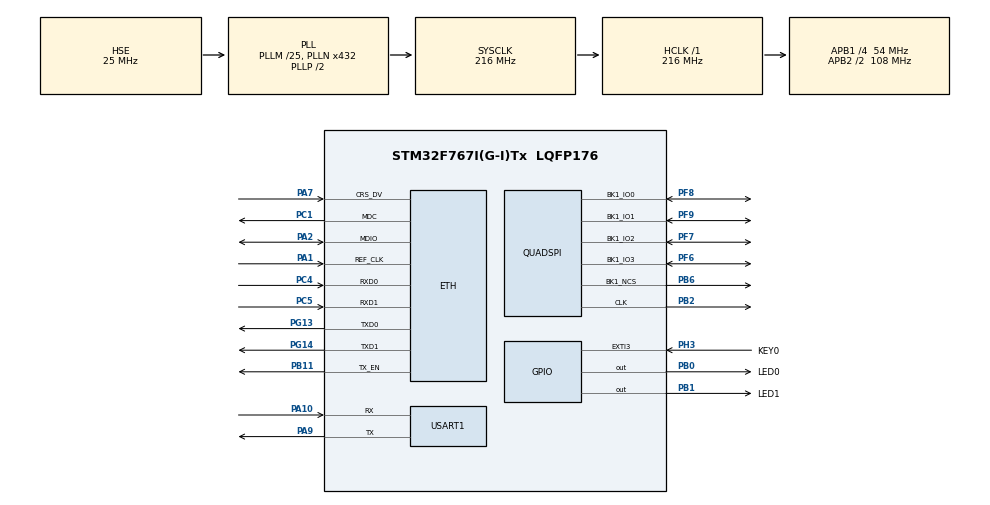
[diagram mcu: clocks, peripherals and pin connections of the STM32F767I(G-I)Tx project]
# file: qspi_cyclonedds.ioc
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CORTEX_M7.BaseAddress-Cortex_Memory_Protection_Unit_Region0_Settings=0xC0000000
CORTEX_M7.CPU_DCache=Enabled
CORTEX_M7.CPU_ICache=Enabled
CORTEX_M7.Enable-Cortex_Memory_Protection_Unit_Region0_Settings=MPU_REGION_ENABLE
CORTEX_M7.IsBufferable-Cortex_Memory_Protection_Unit_Region0_Settings=MPU_ACCESS_BUFFERABLE
CORTEX_M7.IsCacheable-Cortex_Memory_Protection_Unit_Region0_Settings=MPU_ACCESS_CACHEABLE
CORTEX_M7.MPU_Control=MPU_PRIVILEGED_DEFAULT
CORTEX_M7.Size-Cortex_Memory_Protection_Unit_Region0_Settings=MPU_REGION_SIZE_32MB
Dma.Request0=USART1_TX
Dma.Request1=USART1_RX
Dma.USART1_RX.1.Direction=DMA_PERIPH_TO_MEMORY
Dma.USART1_RX.1.FIFOMode=DMA_FIFOMODE_DISABLE
Dma.USART1_RX.1.Instance=DMA2_Stream2
Dma.USART1_RX.1.MemDataAlignment=DMA_MDATAALIGN_BYTE
Dma.USART1_RX.1.MemInc=DMA_MINC_ENABLE
Dma.USART1_RX.1.Mode=DMA_NORMAL
Dma.USART1_RX.1.PeriphDataAlignment=DMA_PDATAALIGN_BYTE
Dma.USART1_RX.1.PeriphInc=DMA_PINC_DISABLE
Dma.USART1_RX.1.Priority=DMA_PRIORITY_LOW
Dma.USART1_TX.0.Direction=DMA_MEMORY_TO_PERIPH
Dma.USART1_TX.0.FIFOMode=DMA_FIFOMODE_DISABLE
Dma.USART1_TX.0.Instance=DMA2_Stream7
Dma.USART1_TX.0.MemDataAlignment=DMA_MDATAALIGN_BYTE
Dma.USART1_TX.0.MemInc=DMA_MINC_ENABLE
Dma.USART1_TX.0.Mode=DMA_NORMAL
Dma.USART1_TX.0.PeriphDataAlignment=DMA_PDATAALIGN_BYTE
Dma.USART1_TX.0.PeriphInc=DMA_PINC_DISABLE
Dma.USART1_TX.0.Priority=DMA_PRIORITY_LOW
ETH.MediaInterface=HAL_ETH_RMII_MODE
FREERTOS.Tasks01=defaultTask,24,1024,StartDefaultTask,Default,NULL,Dynamic,NULL,NULL
FREERTOS.configMINIMAL_STACK_SIZE=1024
FREERTOS.configTOTAL_HEAP_SIZE=204800
FREERTOS.configUSE_NEWLIB_REENTRANT=1
LWIP.BSP.number=1
LWIP.DEFAULT_THREAD_STACKSIZE=2048
LWIP.GATEWAY_ADDRESS=192.168.001.001
LWIP.IP_ADDRESS=192.168.001.010
LWIP.LWIP_ARP=1
LWIP.LWIP_DHCP=0
LWIP.NETMASK_ADDRESS=255.255.255.000
LWIP.SLIPIF_THREAD_STACKSIZE=2048
LWIP.TCPIP_THREAD_NAME="tcpip_thread1"
LWIP.TCPIP_THREAD_STACKSIZE=2048
LWIP.Version=v2.1.2_Cube
LWIP0.BSP.STBoard=false
LWIP0.BSP.api=BSP_COMPONENT_DRIVER
LWIP0.BSP.component=LAN8742
LWIP0.BSP.instance=LAN8742
LWIP0.BSP.name=Driver_PHY
LWIP0.BSP.semaphore=S_LAN8742
LWIP0.BSP.solution=LAN8742
Mcu.Family=STM32F7
Mcu.Name=STM32F767I(G-I)Tx
Mcu.Package=LQFP176
NVIC.DMA2_Stream2_IRQn=true\:5\:0\:false\:false\:true\:true\:false\:true\:true
NVIC.DMA2_Stream7_IRQn=true\:5\:0\:false\:false\:true\:true\:false\:true\:true
NVIC.ETH_IRQn=true\:5\:0\:false\:false\:true\:true\:false\:true\:true
NVIC.EXTI3_IRQn=true\:5\:0\:false\:false\:true\:true\:true\:true\:true
NVIC.PriorityGroup=NVIC_PRIORITYGROUP_4
NVIC.TIM1_UP_TIM10_IRQn=true\:15\:0\:false\:false\:true\:false\:false\:true\:true
NVIC.TimeBase=TIM1_UP_TIM10_IRQn
NVIC.TimeBaseIP=TIM10
NVIC.USART1_IRQn=true\:5\:0\:false\:false\:true\:true\:true\:true\:true
PA1.Mode=RMII
PA1.Signal=ETH_REF_CLK
PA10.Mode=Asynchronous
PA10.Signal=USART1_RX
PA13.Mode=Trace_Synchro_4bits_JTAG
PA13.Signal=SYS_JTMS-SWDIO
PA14.Mode=Trace_Synchro_4bits_JTAG
PA14.Signal=SYS_JTCK-SWCLK
PA15.Mode=Trace_Synchro_4bits_JTAG
PA15.Signal=SYS_JTDI
PA2.Mode=RMII
PA2.Signal=ETH_MDIO
PA7.Mode=RMII
PA7.Signal=ETH_CRS_DV
PA9.Mode=Asynchronous
PA9.Signal=USART1_TX
PB0.GPIO_Label=LED0
PB0.PinState=GPIO_PIN_SET
PB0.Signal=GPIO_Output
PB1.GPIO_Label=LED1
PB1.PinState=GPIO_PIN_SET
PB1.Signal=GPIO_Output
PB11.Mode=RMII
PB11.Signal=ETH_TX_EN
PB2.Mode=Single Bank 1
PB2.Signal=QUADSPI_CLK
PB3.Mode=Trace_Synchro_4bits_JTAG
PB3.Signal=SYS_JTDO-SWO
PB6.Mode=Single Bank 1
PB6.Signal=QUADSPI_BK1_NCS
PC1.Mode=RMII
PC1.Signal=ETH_MDC
PC14/OSC32_IN.Mode=LSE-External-Oscillator
PC14/OSC32_IN.Signal=RCC_OSC32_IN
PC15/OSC32_OUT.Mode=LSE-External-Oscillator
PC15/OSC32_OUT.Signal=RCC_OSC32_OUT
PC4.Mode=RMII
PC4.Signal=ETH_RXD0
PC5.Mode=RMII
PC5.Signal=ETH_RXD1
PE2.Mode=Trace_Synchro_4bits_JTAG
PE2.Signal=SYS_TRACECLK
PE3.Mode=Trace_Synchro_4bits_JTAG
PE3.Signal=SYS_TRACED0
PE4.Mode=Trace_Synchro_4bits_JTAG
PE4.Signal=SYS_TRACED1
PE5.Mode=Trace_Synchro_4bits_JTAG
PE5.Signal=SYS_TRACED2
PE6.Mode=Trace_Synchro_4bits_JTAG
PE6.Signal=SYS_TRACED3
PF6.Mode=Single Bank 1
PF6.Signal=QUADSPI_BK1_IO3
PF7.Mode=Single Bank 1
PF7.Signal=QUADSPI_BK1_IO2
PF8.Mode=Single Bank 1
PF8.Signal=QUADSPI_BK1_IO0
PF9.Mode=Single Bank 1
PF9.Signal=QUADSPI_BK1_IO1
PG13.Mode=RMII
PG13.Signal=ETH_TXD0
PG14.Mode=RMII
PG14.Signal=ETH_TXD1
PH0/OSC_IN.Mode=HSE-External-Oscillator
PH0/OSC_IN.Signal=RCC_OSC_IN
PH1/OSC_OUT.Mode=HSE-External-Oscillator
PH1/OSC_OUT.Signal=RCC_OSC_OUT
PH3.GPIO_Label=KEY0
PH3.GPIO_ModeDefaultEXTI=GPIO_MODE_IT_FALLING
PH3.GPIO_PuPd=GPIO_PULLUP
PH3.Signal=GPXTI3
ProjectManager.HeapSize=0x2000
ProjectManager.StackSize=0x2000
ProjectManager.TargetToolchain=Makefile
QUADSPI.ChipSelectHighTime=QSPI_CS_HIGH_TIME_5_CYCLE
QUADSPI.ClockPrescaler=1
QUADSPI.FifoThreshold=32
QUADSPI.FlashSize=24
QUADSPI.SampleShifting=QSPI_SAMPLE_SHIFTING_HALFCYCLE
RCC.AHBFreq_Value=216000000
RCC.APB1CLKDivider=RCC_HCLK_DIV4
RCC.APB1Freq_Value=54000000
RCC.APB1TimFreq_Value=108000000
RCC.APB2CLKDivider=RCC_HCLK_DIV2
RCC.APB2Freq_Value=108000000
RCC.APB2TimFreq_Value=216000000
RCC.CortexFreq_Value=216000000
RCC.HCLKFreq_Value=216000000
RCC.HSE_VALUE=25000000
RCC.HSI_VALUE=16000000
RCC.PLLM=25
RCC.PLLN=432
RCC.PLLSourceVirtual=RCC_PLLSOURCE_HSE
RCC.SYSCLKFreq_VALUE=216000000
RCC.SYSCLKSource=RCC_SYSCLKSOURCE_PLLCLK
RCC.USART1CLockSelection=RCC_USART1CLKSOURCE_SYSCLK
RCC.USBFreq_Value=216000000
RCC.VCOOutputFreq_Value=432000000
USART1.VirtualMode-Asynchronous=VM_ASYNC
VP_FREERTOS_VS_CMSIS_V2.Mode=CMSIS_V2
VP_LWIP_VS_Enabled.Mode=Enabled
VP_SYS_VS_tim10.Mode=TIM10
board=custom

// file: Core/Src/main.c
/* USER CODE BEGIN Header */
/**
  ******************************************************************************
  * @file           : main.c
  * @brief          : Main program body
  ******************************************************************************
  * @attention
  *
  * Copyright (c) 2024 STMicroelectronics.
  * All rights reserved.
  *
  * This software is licensed under terms that can be found in the LICENSE file
  * in the root directory of this software component.
  * If no LICENSE file comes with this software, it is provided AS-IS.
  *
  ******************************************************************************
  */
/* USER CODE END Header */
#include "main.h"
#include "cmsis_os.h"
#include "dma.h"
#include "lwip.h"
#include "quadspi.h"
#include "usart.h"
#include "gpio.h"
#include "fmc.h"

/* USER CODE BEGIN Includes */
#include "pcf8574.h"
#include "delay.h"
/* USER CODE END Includes */

void SystemClock_Config(void);
static void MPU_Config(void);
void MX_FREERTOS_Init(void);

/* USER CODE BEGIN 0 */
static void after_extraminit_ctr(void){
  extern char _sdata_extram, _edata_extram, _sidata_extram;
	extern char _sbss_extram, _ebss_extram;
	volatile char *src = &_sidata_extram;
	volatile char *dst = &_sdata_extram;

	while (dst < &_edata_extram)
		*dst++ = *src++;

	dst = &_sbss_extram;
	while (dst < &_ebss_extram)
		*dst++ = 0;

	SCB_CleanDCache();
	SCB_InvalidateDCache();
}
/* USER CODE END 0 */

int main(void)
{
  /* USER CODE BEGIN 1 */
  SCB->VTOR = FLASH_BASE;
  /* USER CODE END 1 */
/* Enable the CPU Cache */

  /* Enable I-Cache---------------------------------------------------------*/
  SCB_EnableICache();

  /* Enable D-Cache---------------------------------------------------------*/
  SCB_EnableDCache();

  SCB->CACR|=1<<2;  //开启Dcache透写

  MPU_Config();

  /* MCU Configuration--------------------------------------------------------*/

  /* Reset of all peripherals, Initializes the Flash interface and the Systick. */
  HAL_Init();

  /* Configure the system clock */
  SystemClock_Config();

  MX_GPIO_Init();

  /* USER CODE BEGIN SysInit */
  MX_FMC_Init();    //!!!important, must enable gpio clk
  after_extraminit_ctr();

  delay_init();
  /* USER CODE END SysInit */

  /* Initialize all configured peripherals */

  MX_DMA_Init();
  MX_USART1_UART_Init();
  //MX_QUADSPI_Init();
  // HAL_GPIO_WritePin(GPIOB, LED1_Pin, GPIO_PIN_RESET);

  /* USER CODE BEGIN 2 */
  PCF8574_Init();
	PCF8574_WriteBit(ETH_RESET_IO,1);
	delay_ms(100);
	PCF8574_WriteBit(ETH_RESET_IO,0);
	delay_ms(100);
  /* USER CODE END 2 */

  /* Init scheduler */
  osKernelInitialize();

  /* Call init function for freertos objects (in freertos.c) */
  MX_FREERTOS_Init();

  /* Start scheduler */
  osKernelStart();

  /* We should never get here as control is now taken by the scheduler */
  /* Infinite loop */
  while (1)
  {

  }
}

void SystemClock_Config(void)
{
  RCC_OscInitTypeDef RCC_OscInitStruct = {0};
  RCC_ClkInitTypeDef RCC_ClkInitStruct = {0};

  /** Configure LSE Drive Capability
  */
  HAL_PWR_EnableBkUpAccess();

  /** Configure the main internal regulator output voltage
  */
  __HAL_RCC_PWR_CLK_ENABLE();
  __HAL_PWR_VOLTAGESCALING_CONFIG(PWR_REGULATOR_VOLTAGE_SCALE1);

  /** Initializes the RCC Oscillators according to the specified parameters
  * in the RCC_OscInitTypeDef structure.
  */
  RCC_OscInitStruct.OscillatorType = RCC_OSCILLATORTYPE_HSE;
  RCC_OscInitStruct.HSEState = RCC_HSE_ON;
  //RCC_OscInitStruct.HSICalibrationValue = RCC_HSICALIBRATION_DEFAULT;
  RCC_OscInitStruct.PLL.PLLState = RCC_PLL_ON;
  RCC_OscInitStruct.PLL.PLLSource = RCC_PLLSOURCE_HSE;
  RCC_OscInitStruct.PLL.PLLM = 25;
  RCC_OscInitStruct.PLL.PLLN = 432;
  RCC_OscInitStruct.PLL.PLLP = RCC_PLLP_DIV2;
  RCC_OscInitStruct.PLL.PLLQ = 9;
  RCC_OscInitStruct.PLL.PLLR = 2;
  if (HAL_RCC_OscConfig(&RCC_OscInitStruct) != HAL_OK)
  {
    Error_Handler();
  }

  /** Activate the Over-Drive mode
  */
  if (HAL_PWREx_EnableOverDrive() != HAL_OK)
  {
    Error_Handler();
  }

  /** Initializes the CPU, AHB and APB buses clocks
  */
  RCC_ClkInitStruct.ClockType = RCC_CLOCKTYPE_HCLK|RCC_CLOCKTYPE_SYSCLK
                              |RCC_CLOCKTYPE_PCLK1|RCC_CLOCKTYPE_PCLK2;
  RCC_ClkInitStruct.SYSCLKSource = RCC_SYSCLKSOURCE_PLLCLK;
  RCC_ClkInitStruct.AHBCLKDivider = RCC_SYSCLK_DIV1;
  RCC_ClkInitStruct.APB1CLKDivider = RCC_HCLK_DIV4;
  RCC_ClkInitStruct.APB2CLKDivider = RCC_HCLK_DIV2;

  if (HAL_RCC_ClockConfig(&RCC_ClkInitStruct, FLASH_LATENCY_7) != HAL_OK)
  {
    Error_Handler();
  }
}

/* MPU Configuration */

void MPU_Config(void)
{
  MPU_Region_InitTypeDef MPU_InitStruct = {0};

  /* Disables the MPU */
  HAL_MPU_Disable();

  /** Initializes and configures the Region and the memory to be protected
  */
  MPU_InitStruct.Enable = MPU_REGION_ENABLE;
  MPU_InitStruct.Number = MPU_REGION_NUMBER0;
  MPU_InitStruct.BaseAddress = 0xC0000000;
  MPU_InitStruct.Size = MPU_REGION_SIZE_32MB;
  MPU_InitStruct.SubRegionDisable = 0x0;
  MPU_InitStruct.TypeExtField = MPU_TEX_LEVEL0;
  MPU_InitStruct.AccessPermission = MPU_REGION_FULL_ACCESS;
  MPU_InitStruct.DisableExec = MPU_INSTRUCTION_ACCESS_ENABLE;
  MPU_InitStruct.IsShareable = MPU_ACCESS_NOT_SHAREABLE;
  MPU_InitStruct.IsCacheable = MPU_ACCESS_CACHEABLE;
  MPU_InitStruct.IsBufferable = MPU_ACCESS_NOT_BUFFERABLE;  //write through

  HAL_MPU_ConfigRegion(&MPU_InitStruct);
  /* Enables the MPU */
  HAL_MPU_Enable(MPU_PRIVILEGED_DEFAULT);

}

void HAL_TIM_PeriodElapsedCallback(TIM_HandleTypeDef *htim)
{
  if (htim->Instance == TIM10) {
    HAL_IncTick();
  }
}

void Error_Handler(void)
{
  __disable_irq();
  while (1)
  {
  }
}

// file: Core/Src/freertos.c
/* USER CODE BEGIN Header */
/**
  ******************************************************************************
  * File Name          : freertos.c
  * Description        : Code for freertos applications
  ******************************************************************************
  * @attention
  *
  * Copyright (c) 2024 STMicroelectronics.
  * All rights reserved.
  *
  * This software is licensed under terms that can be found in the LICENSE file
  * in the root directory of this software component.
  * If no LICENSE file comes with this software, it is provided AS-IS.
  *
  ******************************************************************************
  */
/* USER CODE END Header */

#include "FreeRTOS.h"
#include "task.h"
#include "main.h"
#include "cmsis_os.h"

/* USER CODE BEGIN Includes */
#include <stdio.h>
#include <string.h>
/* USER CODE END Includes */

/* USER CODE BEGIN PD */
#define SDRAM_BANK_ADDR     ((uint32_t)0xC0000000)
/* USER CODE END PD */

/* USER CODE BEGIN Variables */
// uint32_t ttt;
// static uint8_t ttt2 = 0;
/* USER CODE END Variables */
/* Definitions for defaultTask */
osThreadId_t defaultTaskHandle;
const osThreadAttr_t defaultTask_attributes = {
  .name = "defaultTask",
  .stack_size = 1024,
  .priority = (osPriority_t) osPriorityNormal,
};

void StartDefaultTask(void *argument);

extern void MX_LWIP_Init(void);
void MX_FREERTOS_Init(void); /* (MISRA C 2004 rule 8.1) */

void MX_FREERTOS_Init(void) {

  /* Create the thread(s) */
  /* creation of defaultTask */
  defaultTaskHandle = osThreadNew(StartDefaultTask, NULL, &defaultTask_attributes);

}

extern UART_HandleTypeDef huart1;

//SDRAM内存测试
void fsmc_sdram_test()
{
	uint32_t i=0;
	uint32_t temp=0;
	uint32_t sval=0;	//在地址0读到的数据
	//刚好是32M字节
	for(i=0;i<32*1024*1024;i+=4)
	{
		*(vu32*)(SDRAM_BANK_ADDR+i)=temp;
		temp++;
	}
	//依次读出之前写入的数据,进行校验
 	for(i=0;i<32*1024*1024;i+=4)
	{
  		temp=*(vu32*)(SDRAM_BANK_ADDR+i);
		if(i==0)sval=temp;
 		else if(temp<=sval || ((i/4)!=temp) ){
      printf("sdram error\r\n");
      break;//后面读出的数据一定要比第一次读到的数据大.
    }
 	}
}

// uint8_t arr1[] __attribute__((section(".arr1")))   = {0x1, 0x2, 0x3};
// uint8_t arr2[] __attribute__((section(".arr2")));

void StartDefaultTask(void *argument)
{
  // memcpy(arr2, arr1, 3);
  // for(int i=0;i<3;++i){
  //   printf("one, %d \r\n", arr2[i]);
  // }
  /* init code for LWIP */
  MX_LWIP_Init();
  /* USER CODE BEGIN StartDefaultTask */
  /* Infinite loop */

  //fsmc_sdram_test();
  /******测试external sdram是否读写正常*******/
  // uint8_t cnt[] = {123};
  // uint8_t *ptr = SDRAM_BANK_ADDR;
  // for(uint32_t i=0;i<4094304;++i){  //4094304
  //   *(uint8_t *)(ptr+i) = cnt[0];
  // }
  // printf("w over\r\n");

  // for(uint32_t i=0;i<4094304;++i){  //4094304
  //   if(memcmp(cnt, (uint8_t*)(0xC0000000+i), 1) != HAL_OK){
  //       printf("while, %d, %x\r\n", i, *(uint8_t*)(0xC0000000));
  //       while(1)
  //         ;
  //     }
  // }
  // printf("cmp over\r\n");
  /*************************************/

  for(;;)
  {
	  //HAL_GPIO_WritePin(GPIOB, LED0_Pin, GPIO_PIN_SET);
	  HAL_GPIO_WritePin(GPIOB, LED1_Pin, GPIO_PIN_SET);
	  osDelay(500);
	  //HAL_GPIO_WritePin(GPIOB, LED0_Pin, GPIO_PIN_RESET);
	  HAL_GPIO_WritePin(GPIOB, LED1_Pin, GPIO_PIN_RESET);
	  osDelay(500);

	  printf("hello\r\n");

  }
  /* USER CODE END StartDefaultTask */
}
